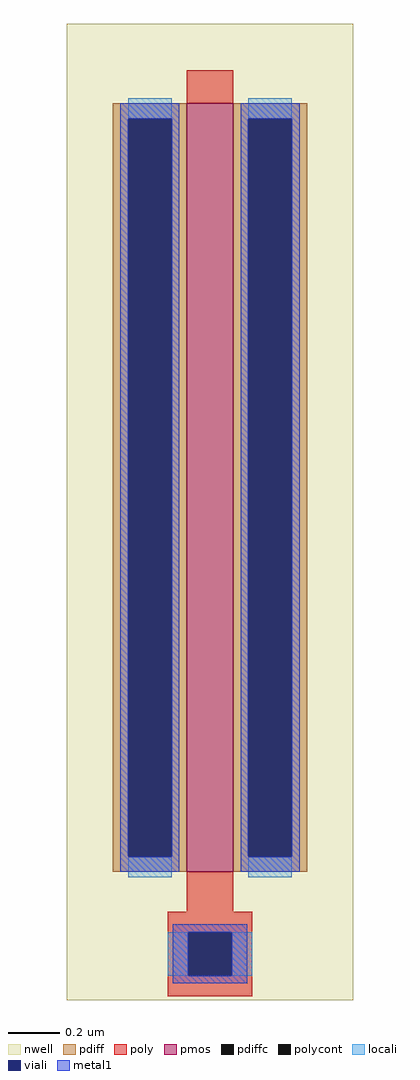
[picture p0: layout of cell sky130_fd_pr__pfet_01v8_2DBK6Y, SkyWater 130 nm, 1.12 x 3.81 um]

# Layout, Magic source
magic
tech sky130A
magscale 1 2
<< nwell >>
rect -112 -364 112 398
<< pmos >>
rect -18 -264 18 336
<< pdiff >>
rect -76 324 -18 336
rect -76 -252 -64 324
rect -30 -252 -18 324
rect -76 -264 -18 -252
rect 18 324 76 336
rect 18 -252 30 324
rect 64 -252 76 324
rect 18 -264 76 -252
<< pdiffc >>
rect -64 -252 -30 324
rect 30 -252 64 324
<< poly >>
rect -18 336 18 362
rect -18 -295 18 -264
rect -33 -311 33 -295
rect -33 -345 -17 -311
rect 17 -345 33 -311
rect -33 -361 33 -345
<< polycont >>
rect -17 -345 17 -311
<< locali >>
rect -64 324 -30 340
rect -64 -268 -30 -252
rect 30 324 64 340
rect 30 -268 64 -252
rect -33 -345 -17 -311
rect 17 -345 33 -311
<< viali >>
rect -64 -252 -30 324
rect 30 -252 64 324
rect -17 -345 17 -311
<< metal1 >>
rect -70 324 -24 336
rect -70 -252 -64 324
rect -30 -252 -24 324
rect -70 -264 -24 -252
rect 24 324 70 336
rect 24 -252 30 324
rect 64 -252 70 324
rect 24 -264 70 -252
rect -29 -311 29 -305
rect -29 -345 -17 -311
rect 17 -345 29 -311
rect -29 -351 29 -345
<< properties >>
string gencell sky130_fd_pr__pfet_01v8
string library sky130
string parameters w 3.0 l 0.18 m 1 nf 1 diffcov 100 polycov 100 guard 0 glc 1 grc 1 gtc 1 gbc 1 tbcov 100 rlcov 100 topc 0 botc 1 poverlap 0 doverlap 1 lmin 0.15 wmin 0.42 compatible {sky130_fd_pr__pfet_01v8  sky130_fd_pr__pfet_01v8_lvt sky130_fd_pr__pfet_01v8_hvt  sky130_fd_pr__pfet_g5v0d10v5} full_metal 0 viasrc 100 viadrn 100 viagate 100 viagb 0 viagr 0 viagl 0 viagt 0
<< end >>
